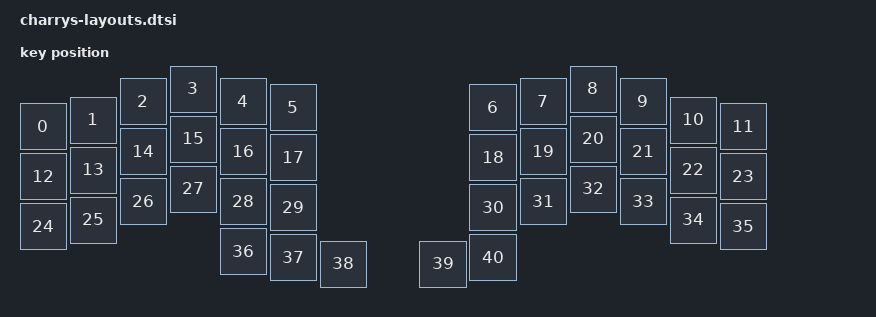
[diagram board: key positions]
#include <physical_layouts.dtsi>

/ {
    physical_layout: physical_layout_0 {
        compatible = "zmk,physical-layout";
        display-name = "charrys";
        kscan = <&kscan0>;
        transform = <&default_transform>;
          keys = <&key_physical_attrs 100 100    0   75       0     0     0>
               , <&key_physical_attrs 100 100  100   62       0     0     0>
               , <&key_physical_attrs 100 100  200   25       0     0     0>
               , <&key_physical_attrs 100 100  300    0       0     0     0>
               , <&key_physical_attrs 100 100  400   25       0     0     0>
               , <&key_physical_attrs 100 100  500   37       0     0     0>
               , <&key_physical_attrs 100 100  900   37       0     0     0>
               , <&key_physical_attrs 100 100 1000   25       0     0     0>
               , <&key_physical_attrs 100 100 1100    0       0     0     0>
               , <&key_physical_attrs 100 100 1200   25       0     0     0>
               , <&key_physical_attrs 100 100 1300   62       0     0     0>
               , <&key_physical_attrs 100 100 1400   75       0     0     0>
               , <&key_physical_attrs 100 100    0  175       0     0     0>
               , <&key_physical_attrs 100 100  100  162       0     0     0>
               , <&key_physical_attrs 100 100  200  125       0     0     0>
               , <&key_physical_attrs 100 100  300  100       0     0     0>
               , <&key_physical_attrs 100 100  400  125       0     0     0>
               , <&key_physical_attrs 100 100  500  137       0     0     0>
               , <&key_physical_attrs 100 100  900  137       0     0     0>
               , <&key_physical_attrs 100 100 1000  125       0     0     0>
               , <&key_physical_attrs 100 100 1100  100       0     0     0>
               , <&key_physical_attrs 100 100 1200  125       0     0     0>
               , <&key_physical_attrs 100 100 1300  162       0     0     0>
               , <&key_physical_attrs 100 100 1400  175       0     0     0>
               , <&key_physical_attrs 100 100    0  275       0     0     0>
               , <&key_physical_attrs 100 100  100  262       0     0     0>
               , <&key_physical_attrs 100 100  200  225       0     0     0>
               , <&key_physical_attrs 100 100  300  200       0     0     0>
               , <&key_physical_attrs 100 100  400  225       0     0     0>
               , <&key_physical_attrs 100 100  500  237       0     0     0>
               , <&key_physical_attrs 100 100  900  237       0     0     0>
               , <&key_physical_attrs 100 100 1000  225       0     0     0>
               , <&key_physical_attrs 100 100 1100  200       0     0     0>
               , <&key_physical_attrs 100 100 1200  225       0     0     0>
               , <&key_physical_attrs 100 100 1300  262       0     0     0>
               , <&key_physical_attrs 100 100 1400  275       0     0     0>
               , <&key_physical_attrs 100 100  400  325       0     0     0>
               , <&key_physical_attrs 100 100  500  337       0     0     0>
               , <&key_physical_attrs 100 100  600  350       0     0     0>
               , <&key_physical_attrs 100 100  800  350       0     0     0>
               , <&key_physical_attrs 100 100  900  337       0     0     0>
               ;
    };
};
